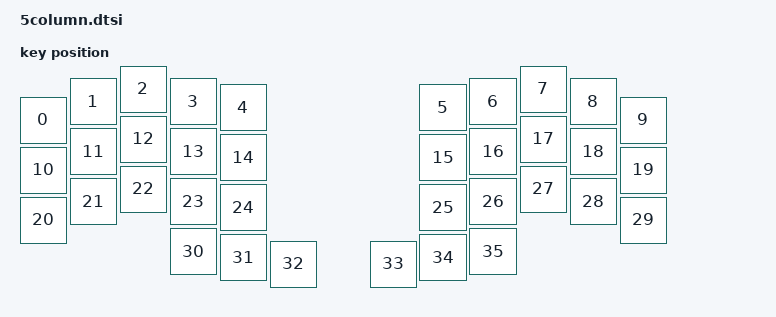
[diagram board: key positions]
#include <layouts/kgoh/jian/position_map.dtsi>
#include <physical_layouts.dtsi>

/ {
    kgoh_jian_5col_layout: kgoh_jian_5col_layout {
        compatible = "zmk,physical-layout";
        display-name = "5 Column";

        keys  //                     w   h    x    y     rot    rx    ry
            = <&key_physical_attrs 100 100    0   62       0     0     0>
            , <&key_physical_attrs 100 100  100   25       0     0     0>
            , <&key_physical_attrs 100 100  200    0       0     0     0>
            , <&key_physical_attrs 100 100  300   25       0     0     0>
            , <&key_physical_attrs 100 100  400   37       0     0     0>
            , <&key_physical_attrs 100 100  800   37       0     0     0>
            , <&key_physical_attrs 100 100  900   25       0     0     0>
            , <&key_physical_attrs 100 100 1000    0       0     0     0>
            , <&key_physical_attrs 100 100 1100   25       0     0     0>
            , <&key_physical_attrs 100 100 1200   62       0     0     0>
            , <&key_physical_attrs 100 100    0  162       0     0     0>
            , <&key_physical_attrs 100 100  100  125       0     0     0>
            , <&key_physical_attrs 100 100  200  100       0     0     0>
            , <&key_physical_attrs 100 100  300  125       0     0     0>
            , <&key_physical_attrs 100 100  400  137       0     0     0>
            , <&key_physical_attrs 100 100  800  137       0     0     0>
            , <&key_physical_attrs 100 100  900  125       0     0     0>
            , <&key_physical_attrs 100 100 1000  100       0     0     0>
            , <&key_physical_attrs 100 100 1100  125       0     0     0>
            , <&key_physical_attrs 100 100 1200  162       0     0     0>
            , <&key_physical_attrs 100 100    0  262       0     0     0>
            , <&key_physical_attrs 100 100  100  225       0     0     0>
            , <&key_physical_attrs 100 100  200  200       0     0     0>
            , <&key_physical_attrs 100 100  300  225       0     0     0>
            , <&key_physical_attrs 100 100  400  237       0     0     0>
            , <&key_physical_attrs 100 100  800  237       0     0     0>
            , <&key_physical_attrs 100 100  900  225       0     0     0>
            , <&key_physical_attrs 100 100 1000  200       0     0     0>
            , <&key_physical_attrs 100 100 1100  225       0     0     0>
            , <&key_physical_attrs 100 100 1200  262       0     0     0>
            , <&key_physical_attrs 100 100  300  325       0     0     0>
            , <&key_physical_attrs 100 100  400  337       0     0     0>
            , <&key_physical_attrs 100 100  500  350       0     0     0>
            , <&key_physical_attrs 100 100  700  350       0     0     0>
            , <&key_physical_attrs 100 100  800  337       0     0     0>
            , <&key_physical_attrs 100 100  900  325       0     0     0>
        ;
    };
};

&layouts_kgoh_jian_position_map {
    kgoh_jian_5col_posmap: five {
        physical-layout = <&kgoh_jian_5col_layout>;
        positions
            = <36 37  0  1  2  3  4        5  6  7  8  9 38 39>
            , <   40 10 11 12 13 14       15 16 17 18 19 41   >
            , <   42 20 21 22 23 24       25 26 27 28 29 43   >
            , <               30 31 32 33 34 35               >;
    };
};
